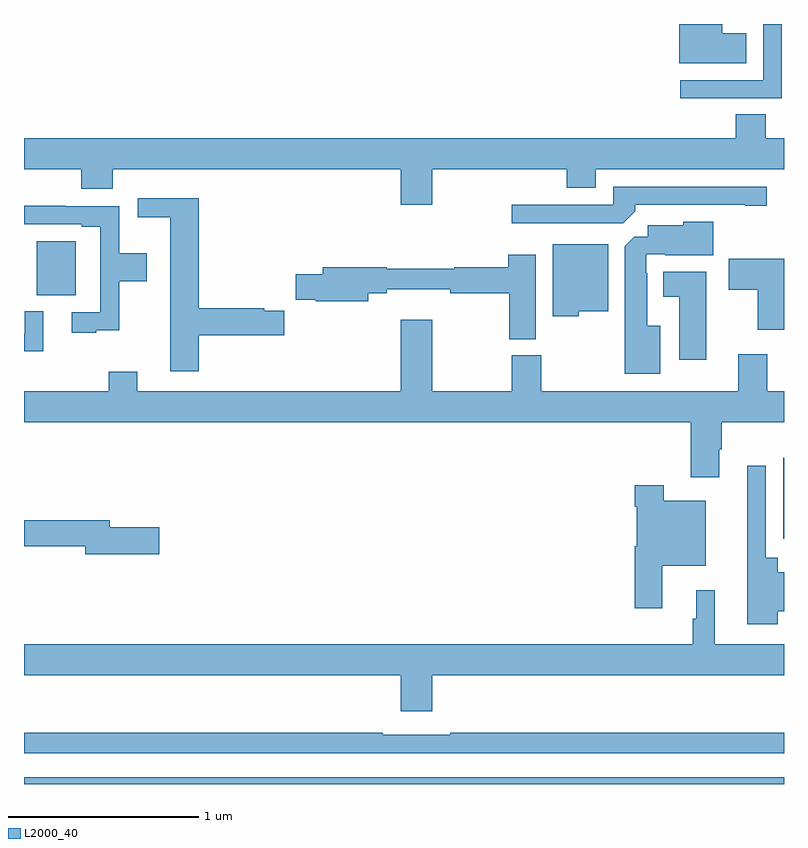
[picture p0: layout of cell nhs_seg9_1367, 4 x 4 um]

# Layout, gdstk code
import gdstk
lib = gdstk.Library(unit=1e-6, precision=1e-09)
def R(c, l, rs):  # rectangles x0, y0, x1, y1
    for r in rs: c.add(gdstk.rectangle(r[:2], r[2:], *l))
def P(c, l, *ps):  # polygons
    for p in ps: c.add(gdstk.Polygon(p, *l))
L2000_40 = (2000, 40)

nhs_seg9_1367 = lib.new_cell('nhs_seg9_1367')
R(nhs_seg9_1367, L2000_40, [(187,1210.5,191,1210.536), (190.995,1211.79,191,1212.216), (187.067,1213.073,187.273,1213.357)])
P(nhs_seg9_1367, L2000_40, [(190.989,1214.5),(190.89,1214.5),(190.89,1214.205),(190.455,1214.205),(190.455,1214.109),(190.989,1214.109)],
  [(190.801,1214.452),(190.675,1214.452),(190.675,1214.5),(190.448,1214.5),(190.448,1214.294),(190.801,1214.294)],
  [(189.148,1213.736),(189.857,1213.736),(189.857,1213.637),(190.009,1213.637),(190.009,1213.736),(191,1213.736),(191,1213.9),(190.905,1213.9),(190.905,1214.024),(190.745,1214.024),(190.745,1213.9),(187,1213.9),(187,1213.736),(187.301,1213.736),(187.301,1213.634),(187.466,1213.634),(187.466,1213.736),(188.984,1213.736),(188.984,1213.548),(189.148,1213.548)],
  [(190.217,1213.514),(190.217,1213.548),(190.796,1213.548),(190.796,1213.543),(190.909,1213.543),(190.909,1213.644),(190.101,1213.644),(190.101,1213.548),(189.567,1213.548),(189.567,1213.452),(190.155,1213.452)],
  [(187.919,1212.862),(188.369,1212.862),(188.369,1212.992),(188.264,1212.992),(188.264,1213.004),(187.919,1213.004),(187.919,1213.582),(187.599,1213.582),(187.599,1213.484),(187.769,1213.484),(187.769,1212.672),(187.919,1212.672)],
  [(187.379,1212.887),(187.502,1212.887),(187.502,1213.147),(187.645,1213.147),(187.645,1213.294),(187.502,1213.294),(187.502,1213.542),(187.217,1213.542),(187.217,1213.544),(187,1213.544),(187,1213.446),(187.304,1213.446),(187.304,1213.434),(187.401,1213.434),(187.401,1212.984),(187.251,1212.984),(187.251,1212.876),(187.379,1212.876)],
  [(190.348,1212.913),(190.279,1212.913),(190.279,1213.187),(190.275,1213.187),(190.275,1213.287),(190.375,1213.287),(190.375,1213.283),(190.627,1213.283),(190.627,1213.459),(190.47,1213.459),(190.47,1213.441),(190.283,1213.441),(190.283,1213.38),(190.212,1213.38),(190.163,1213.331),(190.163,1212.659),(190.348,1212.659)],
  [(189.921,1212.989),(190.075,1212.989),(190.075,1213.342),(189.782,1213.342),(189.782,1212.962),(189.921,1212.962)],
  [(189.694,1213.285),(189.548,1213.285),(189.548,1213.22),(189.264,1213.22),(189.264,1213.213),(188.908,1213.213),(188.908,1213.22),(188.573,1213.22),(188.573,1213.184),(188.431,1213.184),(188.431,1213.05),(188.536,1213.05),(188.536,1213.042),(188.812,1213.042),(188.812,1213.084),(188.908,1213.084),(188.908,1213.103),(189.244,1213.103),(189.244,1213.084),(189.553,1213.084),(189.553,1212.841),(189.694,1212.841)],
  [(191,1213.264),(190.71,1213.264),(190.71,1213.102),(190.862,1213.102),(190.862,1212.891),(191,1212.891)],
  [(190.591,1213.195),(190.364,1213.195),(190.364,1213.064),(190.448,1213.064),(190.448,1212.732),(190.591,1212.732)],
  [(187.102,1212.988),(187.005,1212.988),(187.005,1212.873),(187,1212.873),(187,1212.777),(187.102,1212.777)],
  [(189.723,1212.756),(189.568,1212.756),(189.568,1212.568),(189.148,1212.568),(189.148,1212.943),(188.984,1212.943),(188.984,1212.568),(187.597,1212.568),(187.597,1212.67),(187.445,1212.67),(187.445,1212.568),(187,1212.568),(187,1212.404),(190.508,1212.404),(190.508,1212.114),(190.66,1212.114),(190.66,1212.262),(190.673,1212.262),(190.673,1212.404),(191,1212.404),(191,1212.568),(190.913,1212.568),(190.913,1212.763),(190.76,1212.763),(190.76,1212.568),(189.723,1212.568)],
  [(190.966,1211.408),(191,1211.408),(191,1211.614),(190.966,1211.614),(190.966,1211.692),(190.905,1211.692),(190.905,1212.175),(190.807,1212.175),(190.807,1211.34),(190.966,1211.34)],
  [(190.36,1211.648),(190.588,1211.648),(190.588,1211.992),(190.368,1211.992),(190.368,1212.073),(190.214,1212.073),(190.214,1211.96),(190.226,1211.96),(190.226,1211.752),(190.214,1211.752),(190.214,1211.424),(190.36,1211.424)],
  [(187.711,1211.852),(187.45,1211.852),(187.45,1211.888),(187,1211.888),(187,1211.752),(187.322,1211.752),(187.322,1211.71),(187.711,1211.71)],
  [(189.148,1211.072),(191,1211.072),(191,1211.236),(190.636,1211.236),(190.636,1211.521),(190.538,1211.521),(190.538,1211.37),(190.519,1211.37),(190.519,1211.236),(187,1211.236),(187,1211.072),(188.984,1211.072),(188.984,1210.884),(189.148,1210.884)],
  [(191,1210.771),(189.244,1210.771),(189.244,1210.758),(188.888,1210.758),(188.888,1210.771),(187,1210.771),(187,1210.662),(191,1210.662)])

lib.write_gds('nhs_seg9_1367.gds')
